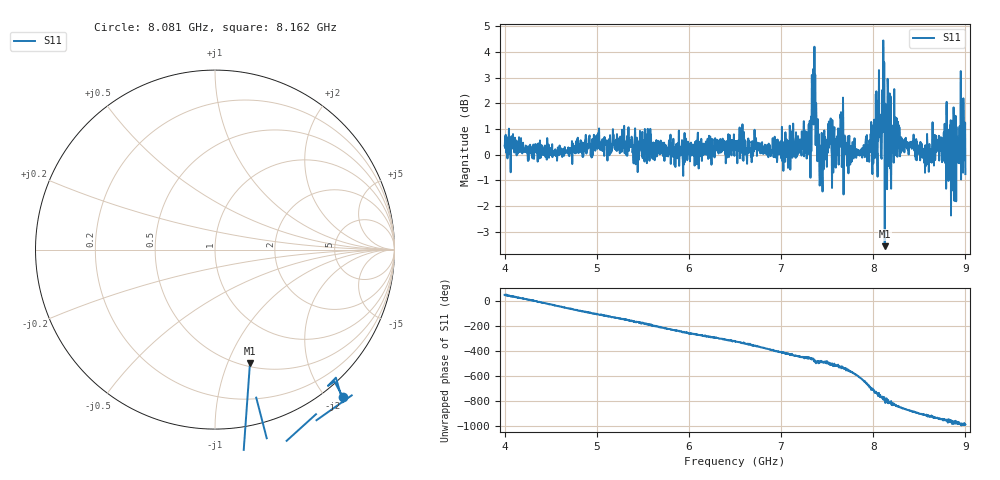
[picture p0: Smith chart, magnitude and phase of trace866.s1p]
! Created with skrf 1.8.0 (http://scikit-rf.org).
# Hz S RI R 50.0
!freq ReS11 ImS11
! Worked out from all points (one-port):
!   1601 points, 4 GHz to 9 GHz, reference 50 ohm
!   lowest |S11| = -3.6 dB at 8.125 GHz (marker M1), VSWR 4.93, Z = 26.7 - j60.3 ohm
!   |S11| at or under -10 dB: nowhere
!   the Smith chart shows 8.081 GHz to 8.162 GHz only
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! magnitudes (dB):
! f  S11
! 4 GHz  0.4
! 4.625 GHz  -0.1
! 5.25 GHz  0.1
! 5.875 GHz  0.2
! 6.5 GHz  0.4
! 7.125 GHz  0.2
! 7.303 GHz  0.2
! 7.359 GHz  3.1
! 7.412 GHz  0.5
! 7.438 GHz  -0.6
! 7.525 GHz  0.7
! 7.575 GHz  0.9
! 7.65 GHz  1.7
! 7.75 GHz  -0.4
! 7.981 GHz  0.5
! 8.047 GHz  -0.9
! 8.066 GHz  0.8
! 8.097 GHz  1.6
! 8.125 GHz  -3.6
! 8.15 GHz  -1.3
! 8.162 GHz  2.3
! 8.209 GHz  1.0
! 8.375 GHz  0.5
! 8.556 GHz  -0.3
! 8.781 GHz  -0.3
! 8.841 GHz  1.3
! 8.959 GHz  1.9
! 9 GHz  -0.8
